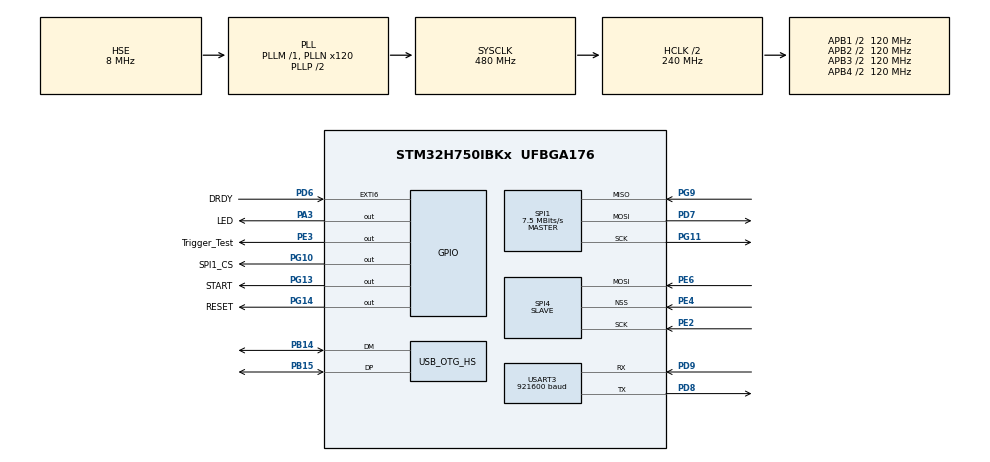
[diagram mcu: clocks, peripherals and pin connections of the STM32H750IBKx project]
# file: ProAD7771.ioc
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Mcu.Family=STM32H7
Mcu.Name=STM32H750IBKx
Mcu.Package=UFBGA176
NVIC.EXTI9_5_IRQn=true\:1\:0\:true\:false\:true\:true\:true
NVIC.OTG_HS_IRQn=true\:0\:0\:false\:false\:true\:false\:true
NVIC.PriorityGroup=NVIC_PRIORITYGROUP_4
NVIC.TIM15_IRQn=true\:2\:0\:true\:false\:true\:true\:true
PA13\ (JTMS/SWDIO).Mode=Serial_Wire
PA13\ (JTMS/SWDIO).Signal=DEBUG_JTMS-SWDIO
PA14\ (JTCK/SWCLK).Mode=Serial_Wire
PA14\ (JTCK/SWCLK).Signal=DEBUG_JTCK-SWCLK
PA3.GPIO_Label=LED
PA3.PinState=GPIO_PIN_SET
PA3.Signal=GPIO_Output
PB14.Mode=Device_Only_FS
PB14.Signal=USB_OTG_HS_DM
PB15.Mode=Device_Only_FS
PB15.Signal=USB_OTG_HS_DP
PC14-OSC32_IN\ (OSC32_IN).Mode=LSE-External-Oscillator
PC14-OSC32_IN\ (OSC32_IN).Signal=RCC_OSC32_IN
PC15-OSC32_OUT\ (OSC32_OUT).Mode=LSE-External-Oscillator
PC15-OSC32_OUT\ (OSC32_OUT).Signal=RCC_OSC32_OUT
PD6.GPIO_Label=DRDY
PD6.GPIO_ModeDefaultEXTI=GPIO_MODE_IT_RISING
PD6.Signal=GPXTI6
PD7.Mode=Full_Duplex_Master
PD7.Signal=SPI1_MOSI
PD8.Mode=Asynchronous
PD8.Signal=USART3_TX
PD9.Mode=Asynchronous
PD9.Signal=USART3_RX
PE2.Mode=RX_Only_Simplex_Unidirect_Slave
PE2.Signal=SPI4_SCK
PE3.GPIO_Label=Trigger_Test
PE3.GPIO_PuPd=GPIO_NOPULL
PE3.GPIO_Speed=GPIO_SPEED_FREQ_HIGH
PE3.Signal=GPIO_Output
PE4.Mode=NSS_Signal_Hard_Input
PE4.Signal=SPI4_NSS
PE6.Mode=RX_Only_Simplex_Unidirect_Slave
PE6.Signal=SPI4_MOSI
PG10.GPIO_Label=SPI1_CS
PG10.GPIO_Speed=GPIO_SPEED_FREQ_HIGH
PG10.PinState=GPIO_PIN_SET
PG10.Signal=GPIO_Output
PG11.Mode=Full_Duplex_Master
PG11.Signal=SPI1_SCK
PG13.GPIO_Label=START
PG13.PinState=GPIO_PIN_SET
PG13.Signal=GPIO_Output
PG14.GPIO_Label=RESET
PG14.PinState=GPIO_PIN_SET
PG14.Signal=GPIO_Output
PG9.Mode=Full_Duplex_Master
PG9.Signal=SPI1_MISO
PH0-OSC_IN\ (PH0).Mode=HSE-External-Oscillator
PH0-OSC_IN\ (PH0).Signal=RCC_OSC_IN
PH1-OSC_OUT\ (PH1).Mode=HSE-External-Oscillator
PH1-OSC_OUT\ (PH1).Signal=RCC_OSC_OUT
ProjectManager.HeapSize=0x1000
ProjectManager.StackSize=0x1000
ProjectManager.TargetToolchain=MDK-ARM V5.32
RCC.ADCFreq_Value=120000000
RCC.APB1Freq_Value=120000000
RCC.APB2Freq_Value=120000000
RCC.APB3Freq_Value=120000000
RCC.APB4Freq_Value=120000000
RCC.CortexFreq_Value=480000000
RCC.D1PPRE=RCC_APB3_DIV2
RCC.D2PPRE1=RCC_APB1_DIV2
RCC.D2PPRE2=RCC_APB2_DIV2
RCC.D3PPRE=RCC_APB4_DIV2
RCC.DIVM1=1
RCC.DIVM2=1
RCC.DIVM3=4
RCC.DIVN1=120
RCC.DIVN2=120
RCC.DIVN3=260
RCC.DIVP2=8
RCC.DIVP3=4
RCC.DIVQ1=4
RCC.DIVQ3=8
RCC.DIVR1=5
RCC.HCLKFreq_Value=240000000
RCC.HPRE=RCC_HCLK_DIV2
RCC.HSE_VALUE=8000000
RCC.PLLFRACN=0
RCC.PLLSourceVirtual=RCC_PLLSOURCE_HSE
RCC.SAI1CLockSelection=RCC_SAI1CLKSOURCE_PLL3
RCC.SPI123CLockSelection=RCC_SPI123CLKSOURCE_PLL2
RCC.SYSCLKFreq_VALUE=480000000
RCC.SYSCLKSource=RCC_SYSCLKSOURCE_PLLCLK
RCC.USBCLockSelection=RCC_USBCLKSOURCE_HSI48
RCC.USBFreq_Value=48000000
SPI1.BaudRatePrescaler=SPI_BAUDRATEPRESCALER_16
SPI1.CalculateBaudRate=7.5 MBits/s
SPI1.DataSize=SPI_DATASIZE_8BIT
SPI1.Direction=SPI_DIRECTION_2LINES
SPI1.Mode=SPI_MODE_MASTER
SPI1.NSSPMode=SPI_NSS_PULSE_ENABLE
SPI1.VirtualType=VM_MASTER
SPI4.CLKPolarity=SPI_POLARITY_HIGH
SPI4.DataSize=SPI_DATASIZE_8BIT
SPI4.Direction=SPI_DIRECTION_2LINES_RXONLY
SPI4.Mode=SPI_MODE_SLAVE
SPI4.VirtualNSS=VM_NSSHARD
SPI4.VirtualType=VM_SLAVE
TIM15.AutoReloadPreload=TIM_AUTORELOAD_PRELOAD_ENABLE
TIM15.Period=1000-1
TIM15.Prescaler=240-1
USART3.BaudRate=921600
USART3.VirtualMode-Asynchronous=VM_ASYNC
USB_DEVICE.CLASS_NAME_HS=CDC
USB_DEVICE.VirtualMode-CDC_HS=Cdc
USB_DEVICE.VirtualModeHS=Cdc_HS
USB_OTG_HS.VirtualMode-Device_Only_FS=Device_Only_FS
VP_TIM15_VS_ClockSourceINT.Mode=Internal
VP_USB_DEVICE_VS_USB_DEVICE_CDC_HS.Mode=CDC_HS
board=custom

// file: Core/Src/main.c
/* USER CODE BEGIN Header */
/**
  ******************************************************************************
  * @file           : main.c
  * @brief          : Main program body
  ******************************************************************************
  * @attention
  *
  * <h2><center>&copy; Copyright (c) 2023 STMicroelectronics.
  * All rights reserved.</center></h2>
  *
  * This software component is licensed by ST under BSD 3-Clause license,
  * the "License"; You may not use this file except in compliance with the
  * License. You may obtain a copy of the License at:
  *                        opensource.org/licenses/BSD-3-Clause
  *
  ******************************************************************************
  */
/* USER CODE END Header */
#include "main.h"
#include "spi.h"
#include "tim.h"
#include "usart.h"
#include "usb_device.h"
#include "gpio.h"

/* USER CODE BEGIN Includes */
#include "uApp_AD7771.h"
#include "usbd_cdc_if.h"
/* USER CODE END Includes */

void SystemClock_Config(void);

int main(void)
{

  /* MCU Configuration--------------------------------------------------------*/

  /* Reset of all peripherals, Initializes the Flash interface and the Systick. */
  HAL_Init();

  /* Configure the system clock */
  SystemClock_Config();

  /* Initialize all configured peripherals */
  MX_GPIO_Init();
  MX_SPI1_Init();
  MX_USART3_UART_Init();
  MX_TIM15_Init();
  MX_SPI4_Init();
  MX_USB_DEVICE_Init();
  /* USER CODE BEGIN 2 */
	HAL_TIM_Base_Start_IT(&htim15);
	HAL_Delay(10);

	ad7779_HardwareReset();			//硬件复位
	Read_RegList_init();				//保存spi的寄存器列表值
	eCon_ad7779_init();

	HAL_NVIC_SetPriority(EXTI9_5_IRQn, 1, 0);
  HAL_NVIC_EnableIRQ(EXTI9_5_IRQn);

  /* USER CODE END 2 */

  /* Infinite loop */
  while (1)
  {

  }
}

void SystemClock_Config(void)
{
  RCC_OscInitTypeDef RCC_OscInitStruct = {0};
  RCC_ClkInitTypeDef RCC_ClkInitStruct = {0};

  /** Supply configuration update enable
  */
  HAL_PWREx_ConfigSupply(PWR_LDO_SUPPLY);
  /** Configure the main internal regulator output voltage
  */
  __HAL_PWR_VOLTAGESCALING_CONFIG(PWR_REGULATOR_VOLTAGE_SCALE0);

  while(!__HAL_PWR_GET_FLAG(PWR_FLAG_VOSRDY)) {}
  /** Macro to configure the PLL clock source
  */
  __HAL_RCC_PLL_PLLSOURCE_CONFIG(RCC_PLLSOURCE_HSE);
  /** Initializes the RCC Oscillators according to the specified parameters
  * in the RCC_OscInitTypeDef structure.
  */
  RCC_OscInitStruct.OscillatorType = RCC_OSCILLATORTYPE_HSI48|RCC_OSCILLATORTYPE_HSE;
  RCC_OscInitStruct.HSEState = RCC_HSE_ON;
  RCC_OscInitStruct.HSI48State = RCC_HSI48_ON;
  RCC_OscInitStruct.PLL.PLLState = RCC_PLL_ON;
  RCC_OscInitStruct.PLL.PLLSource = RCC_PLLSOURCE_HSE;
  RCC_OscInitStruct.PLL.PLLM = 1;
  RCC_OscInitStruct.PLL.PLLN = 120;
  RCC_OscInitStruct.PLL.PLLP = 2;
  RCC_OscInitStruct.PLL.PLLQ = 4;
  RCC_OscInitStruct.PLL.PLLR = 5;
  RCC_OscInitStruct.PLL.PLLRGE = RCC_PLL1VCIRANGE_3;
  RCC_OscInitStruct.PLL.PLLVCOSEL = RCC_PLL1VCOWIDE;
  RCC_OscInitStruct.PLL.PLLFRACN = 0;
  if (HAL_RCC_OscConfig(&RCC_OscInitStruct) != HAL_OK)
  {
    Error_Handler();
  }
  /** Initializes the CPU, AHB and APB buses clocks
  */
  RCC_ClkInitStruct.ClockType = RCC_CLOCKTYPE_HCLK|RCC_CLOCKTYPE_SYSCLK
                              |RCC_CLOCKTYPE_PCLK1|RCC_CLOCKTYPE_PCLK2
                              |RCC_CLOCKTYPE_D3PCLK1|RCC_CLOCKTYPE_D1PCLK1;
  RCC_ClkInitStruct.SYSCLKSource = RCC_SYSCLKSOURCE_PLLCLK;
  RCC_ClkInitStruct.SYSCLKDivider = RCC_SYSCLK_DIV1;
  RCC_ClkInitStruct.AHBCLKDivider = RCC_HCLK_DIV2;
  RCC_ClkInitStruct.APB3CLKDivider = RCC_APB3_DIV2;
  RCC_ClkInitStruct.APB1CLKDivider = RCC_APB1_DIV2;
  RCC_ClkInitStruct.APB2CLKDivider = RCC_APB2_DIV2;
  RCC_ClkInitStruct.APB4CLKDivider = RCC_APB4_DIV2;

  if (HAL_RCC_ClockConfig(&RCC_ClkInitStruct, FLASH_LATENCY_4) != HAL_OK)
  {
    Error_Handler();
  }
}

/* USER CODE BEGIN 4 */
uint16_t led_cnt = 0;
void LED_Blinky()
{ //周期指示灯， 1sec中闪烁50ms
	led_cnt++;
	switch(led_cnt)
	{
		case 1 :
			HAL_GPIO_WritePin(GPIOA, LED_Pin, GPIO_PIN_RESET);
			break;
		case 50:
			HAL_GPIO_WritePin(GPIOA, LED_Pin, GPIO_PIN_SET);
			break;
		case 1000:
			led_cnt = 0;
			break;
	}
}

void HAL_TIM_PeriodElapsedCallback(TIM_HandleTypeDef *htim)
{
  if (htim->Instance == TIM15)
	{ //周期定时tick = 1ms
   	LED_Blinky();					//系统指示灯
  }

}
/* USER CODE END 4 */

void Error_Handler(void)
{
  __disable_irq();
  while (1)
  {
  }
}

/************************ (C) COPYRIGHT STMicroelectronics *****END OF FILE****/
